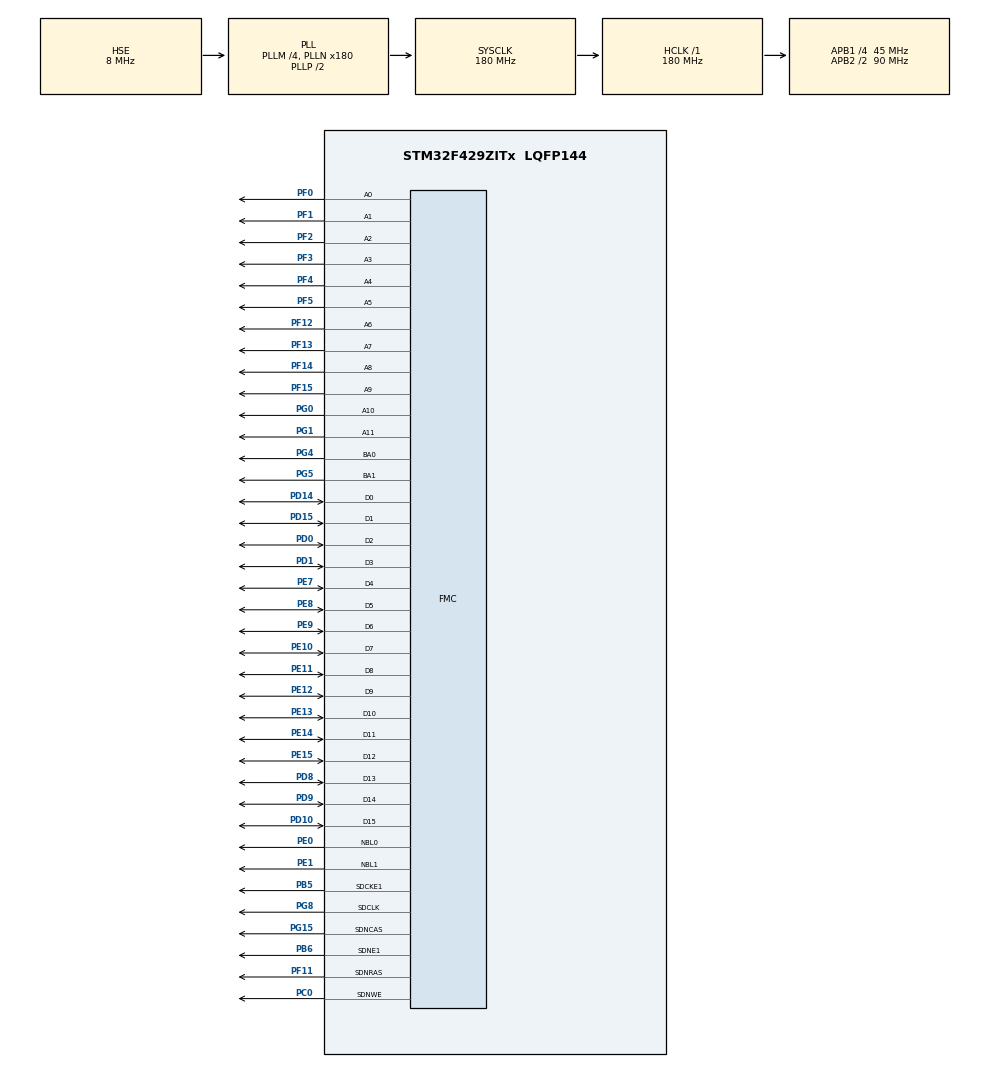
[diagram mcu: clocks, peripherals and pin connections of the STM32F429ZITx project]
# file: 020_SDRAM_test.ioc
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FMC.CASLatency1=FMC_SDRAM_CAS_LATENCY_2
FMC.ExitSelfRefreshDelay1=6
FMC.LoadToActiveDelay1=2
FMC.RCDDelay1=2
FMC.RPDelay1=2
FMC.RPDelay2=2
FMC.ReadBurst1=FMC_SDRAM_RBURST_ENABLE
FMC.ReadBurst2=FMC_SDRAM_RBURST_ENABLE
FMC.RowCycleDelay1=6
FMC.RowCycleDelay2=6
FMC.SDClockPeriod1=FMC_SDRAM_CLOCK_PERIOD_2
FMC.SDClockPeriod2=FMC_SDRAM_CLOCK_PERIOD_2
FMC.SelfRefreshTime1=4
FMC.WriteRecoveryTime1=2
Mcu.Family=STM32F4
Mcu.Name=STM32F429ZITx
Mcu.Package=LQFP144
NVIC.PriorityGroup=NVIC_PRIORITYGROUP_4
PA13.Mode=Trace_Asynchronous_SW
PA13.Signal=SYS_JTMS-SWDIO
PA14.Mode=Trace_Asynchronous_SW
PA14.Signal=SYS_JTCK-SWCLK
PB3.Mode=Trace_Asynchronous_SW
PB3.Signal=SYS_JTDO-SWO
PB5.Mode=SdramChipSelect2_1
PB5.Signal=FMC_SDCKE1
PB6.Mode=SdramChipSelect2_1
PB6.Signal=FMC_SDNE1
PC0.Signal=FMC_SDNWE
PD0.Signal=FMC_D2_DA2
PD1.Signal=FMC_D3_DA3
PD10.Signal=FMC_D15_DA15
PD14.Signal=FMC_D0_DA0
PD15.Signal=FMC_D1_DA1
PD8.Signal=FMC_D13_DA13
PD9.Signal=FMC_D14_DA14
PE0.Signal=FMC_NBL0
PE1.Signal=FMC_NBL1
PE10.Signal=FMC_D7_DA7
PE11.Signal=FMC_D8_DA8
PE12.Signal=FMC_D9_DA9
PE13.Signal=FMC_D10_DA10
PE14.Signal=FMC_D11_DA11
PE15.Signal=FMC_D12_DA12
PE7.Signal=FMC_D4_DA4
PE8.Signal=FMC_D5_DA5
PE9.Signal=FMC_D6_DA6
PF0.Signal=FMC_A0
PF1.Signal=FMC_A1
PF11.Signal=FMC_SDNRAS
PF12.Signal=FMC_A6
PF13.Signal=FMC_A7
PF14.Signal=FMC_A8
PF15.Signal=FMC_A9
PF2.Signal=FMC_A2
PF3.Signal=FMC_A3
PF4.Signal=FMC_A4
PF5.Signal=FMC_A5
PG0.Signal=FMC_A10
PG1.Signal=FMC_A11
PG15.Signal=FMC_SDNCAS
PG4.Signal=FMC_A14_BA0
PG5.Signal=FMC_A15_BA1
PG8.Signal=FMC_SDCLK
PH0/OSC_IN.Mode=HSE-External-Oscillator
PH0/OSC_IN.Signal=RCC_OSC_IN
PH1/OSC_OUT.Mode=HSE-External-Oscillator
PH1/OSC_OUT.Signal=RCC_OSC_OUT
ProjectManager.HeapSize=0x200
ProjectManager.StackSize=0x400
ProjectManager.TargetToolchain=STM32CubeIDE
RCC.48MHZClocksFreq_Value=90000000
RCC.AHBFreq_Value=180000000
RCC.APB1CLKDivider=RCC_HCLK_DIV4
RCC.APB1Freq_Value=45000000
RCC.APB1TimFreq_Value=90000000
RCC.APB2CLKDivider=RCC_HCLK_DIV2
RCC.APB2Freq_Value=90000000
RCC.APB2TimFreq_Value=180000000
RCC.CortexFreq_Value=180000000
RCC.HCLKFreq_Value=180000000
RCC.HSE_VALUE=8000000
RCC.HSI_VALUE=16000000
RCC.LSE_VALUE=32768
RCC.PLLM=4
RCC.PLLN=180
RCC.PLLSourceVirtual=RCC_PLLSOURCE_HSE
RCC.PWREXT_OverDrive=PWREXT_OverDrive_ACTIVATED
RCC.PWR_Regulator_Voltage_Scale=PWR_REGULATOR_VOLTAGE_SCALE1
RCC.SYSCLKFreq_VALUE=180000000
RCC.SYSCLKSource=RCC_SYSCLKSOURCE_PLLCLK
RCC.VCOOutputFreq_Value=360000000
SH.FMC_A0.0=FMC_A0,12b-sda1
SH.FMC_A1.0=FMC_A1,12b-sda1
SH.FMC_A10.0=FMC_A10,12b-sda1
SH.FMC_A11.0=FMC_A11,12b-sda1
SH.FMC_A14_BA0.0=FMC_BA0,FourSdramBanks1
SH.FMC_A15_BA1.0=FMC_BA1,FourSdramBanks1
SH.FMC_A2.0=FMC_A2,12b-sda1
SH.FMC_A3.0=FMC_A3,12b-sda1
SH.FMC_A4.0=FMC_A4,12b-sda1
SH.FMC_A5.0=FMC_A5,12b-sda1
SH.FMC_A6.0=FMC_A6,12b-sda1
SH.FMC_A7.0=FMC_A7,12b-sda1
SH.FMC_A8.0=FMC_A8,12b-sda1
SH.FMC_A9.0=FMC_A9,12b-sda1
SH.FMC_D0_DA0.0=FMC_D0,sd-16b-d1
SH.FMC_D10_DA10.0=FMC_D10,sd-16b-d1
SH.FMC_D11_DA11.0=FMC_D11,sd-16b-d1
SH.FMC_D12_DA12.0=FMC_D12,sd-16b-d1
SH.FMC_D13_DA13.0=FMC_D13,sd-16b-d1
SH.FMC_D14_DA14.0=FMC_D14,sd-16b-d1
SH.FMC_D15_DA15.0=FMC_D15,sd-16b-d1
SH.FMC_D1_DA1.0=FMC_D1,sd-16b-d1
SH.FMC_D2_DA2.0=FMC_D2,sd-16b-d1
SH.FMC_D3_DA3.0=FMC_D3,sd-16b-d1
SH.FMC_D4_DA4.0=FMC_D4,sd-16b-d1
SH.FMC_D5_DA5.0=FMC_D5,sd-16b-d1
SH.FMC_D6_DA6.0=FMC_D6,sd-16b-d1
SH.FMC_D7_DA7.0=FMC_D7,sd-16b-d1
SH.FMC_D8_DA8.0=FMC_D8,sd-16b-d1
SH.FMC_D9_DA9.0=FMC_D9,sd-16b-d1
SH.FMC_NBL0.0=FMC_NBL0,Sd2ByteEnable1
SH.FMC_NBL1.0=FMC_NBL1,Sd2ByteEnable1
SH.FMC_SDCLK.0=FMC_SDCLK,12b-sda1
SH.FMC_SDNCAS.0=FMC_SDNCAS,12b-sda1
SH.FMC_SDNRAS.0=FMC_SDNRAS,12b-sda1
SH.FMC_SDNWE.0=FMC_SDNWE,12b-sda1
board=custom

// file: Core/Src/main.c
/* USER CODE BEGIN Header */
/**
 ******************************************************************************
 * @file           : main.c
 * @brief          : Main program body
 ******************************************************************************
 * @attention
 *
 * Copyright (c) 2023 STMicroelectronics.
 * All rights reserved.
 *
 * This software is licensed under terms that can be found in the LICENSE file
 * in the root directory of this software component.
 * If no LICENSE file comes with this software, it is provided AS-IS.
 *
 ******************************************************************************
 */
/* USER CODE END Header */
#include "main.h"

/* USER CODE BEGIN Includes */
#include "stdlib.h"
/* USER CODE END Includes */

SDRAM_HandleTypeDef hsdram1;

void SystemClock_Config(void);
static void MX_GPIO_Init(void);
static void MX_FMC_Init(void);

int main(void) {

	/* MCU Configuration--------------------------------------------------------*/

	/* Reset of all peripherals, Initializes the Flash interface and the Systick. */
	HAL_Init();

	/* Configure the system clock */
	SystemClock_Config();

	/* Initialize all configured peripherals */
	MX_GPIO_Init();
	MX_FMC_Init();

	/* Infinite loop */
	/* USER CODE BEGIN WHILE */

	// adres start 0xd0000000 - adres stop 0xd07fffff - 64Mb, 8MB, 4M half Word, 2M Word
#define SDRAM_BANK_ADDR_START ((uint32_t)0xd0000000)
#define SDRAM_BANK_COUNT		(0x8000)

	volatile uint32_t test_ok = 0; //zmienna w której będzie wynik testu
	uint32_t test_err[0x100] = { 0 };

	// uzupełnienie randomem małego bloku na stosie

	uint8_t tab[0x100];
	srand(HAL_GetTick());
	for (int i = 0; i < 0x100; i++) {
		tab[i] = rand() % 0x100;
	}

	for (int j = 0; j < SDRAM_BANK_COUNT; j++)
		for (int i = 0; i < 0x100; i++) {
			*(__IO uint8_t*) (SDRAM_BANK_ADDR_START + (j * 0x100) + (1 * i)) = tab[i];
		}

	for (int j = 0; j < SDRAM_BANK_COUNT; j++)
		for (int i = 0; i < 0x100; i++) {
			if ((*(__IO uint8_t*) (SDRAM_BANK_ADDR_START + (j * 0x100) + (1 * i))) != tab[i]) {
				test_err[test_ok] = (SDRAM_BANK_ADDR_START + (j * 0x100) + (1 * i));
				test_ok++;
			}
		}

	__NOP();

	while (1) {
		/* USER CODE END WHILE */

	}
}

void SystemClock_Config(void) {
	RCC_OscInitTypeDef RCC_OscInitStruct = { 0 };
	RCC_ClkInitTypeDef RCC_ClkInitStruct = { 0 };

	/** Configure the main internal regulator output voltage
	 */
	__HAL_RCC_PWR_CLK_ENABLE();
	__HAL_PWR_VOLTAGESCALING_CONFIG(PWR_REGULATOR_VOLTAGE_SCALE1);

	/** Initializes the RCC Oscillators according to the specified parameters
	 * in the RCC_OscInitTypeDef structure.
	 */
	RCC_OscInitStruct.OscillatorType = RCC_OSCILLATORTYPE_HSE;
	RCC_OscInitStruct.HSEState = RCC_HSE_ON;
	RCC_OscInitStruct.PLL.PLLState = RCC_PLL_ON;
	RCC_OscInitStruct.PLL.PLLSource = RCC_PLLSOURCE_HSE;
	RCC_OscInitStruct.PLL.PLLM = 4;
	RCC_OscInitStruct.PLL.PLLN = 180;
	RCC_OscInitStruct.PLL.PLLP = RCC_PLLP_DIV2;
	RCC_OscInitStruct.PLL.PLLQ = 4;
	if (HAL_RCC_OscConfig(&RCC_OscInitStruct) != HAL_OK) {
		Error_Handler();
	}

	/** Activate the Over-Drive mode
	 */
	if (HAL_PWREx_EnableOverDrive() != HAL_OK) {
		Error_Handler();
	}

	/** Initializes the CPU, AHB and APB buses clocks
	 */
	RCC_ClkInitStruct.ClockType = RCC_CLOCKTYPE_HCLK | RCC_CLOCKTYPE_SYSCLK | RCC_CLOCKTYPE_PCLK1 | RCC_CLOCKTYPE_PCLK2;
	RCC_ClkInitStruct.SYSCLKSource = RCC_SYSCLKSOURCE_PLLCLK;
	RCC_ClkInitStruct.AHBCLKDivider = RCC_SYSCLK_DIV1;
	RCC_ClkInitStruct.APB1CLKDivider = RCC_HCLK_DIV4;
	RCC_ClkInitStruct.APB2CLKDivider = RCC_HCLK_DIV2;

	if (HAL_RCC_ClockConfig(&RCC_ClkInitStruct, FLASH_LATENCY_5) != HAL_OK) {
		Error_Handler();
	}
}

/* FMC initialization function */
static void MX_FMC_Init(void) {

	FMC_SDRAM_TimingTypeDef SdramTiming = { 0 };

	/** Perform the SDRAM1 memory initialization sequence
	 */
	hsdram1.Instance = FMC_SDRAM_DEVICE;
	/* hsdram1.Init */
	hsdram1.Init.SDBank = FMC_SDRAM_BANK2;
	hsdram1.Init.ColumnBitsNumber = FMC_SDRAM_COLUMN_BITS_NUM_8;
	hsdram1.Init.RowBitsNumber = FMC_SDRAM_ROW_BITS_NUM_12;
	hsdram1.Init.MemoryDataWidth = FMC_SDRAM_MEM_BUS_WIDTH_16;
	hsdram1.Init.InternalBankNumber = FMC_SDRAM_INTERN_BANKS_NUM_4;
	hsdram1.Init.CASLatency = FMC_SDRAM_CAS_LATENCY_2;
	hsdram1.Init.WriteProtection = FMC_SDRAM_WRITE_PROTECTION_DISABLE;
	hsdram1.Init.SDClockPeriod = FMC_SDRAM_CLOCK_PERIOD_2;
	hsdram1.Init.ReadBurst = FMC_SDRAM_RBURST_ENABLE;
	hsdram1.Init.ReadPipeDelay = FMC_SDRAM_RPIPE_DELAY_0;
	/* SdramTiming */
	SdramTiming.LoadToActiveDelay = 2;
	SdramTiming.ExitSelfRefreshDelay = 6;
	SdramTiming.SelfRefreshTime = 4;
	SdramTiming.RowCycleDelay = 6;
	SdramTiming.WriteRecoveryTime = 2;
	SdramTiming.RPDelay = 2;
	SdramTiming.RCDDelay = 2;

	if (HAL_SDRAM_Init(&hsdram1, &SdramTiming) != HAL_OK) {
		Error_Handler();
	}

	/* USER CODE BEGIN FMC_Init 2 */
#define SDRAM_MODEREG_BURST_LENGTH_1            	((uint16_t)0x0000)
#define SDRAM_MODEREG_BURST_LENGTH_2            	((uint16_t)0x0001)
#define SDRAM_MODEREG_BURST_LENGTH_4            	((uint16_t)0x0002)
#define SDRAM_MODEREG_BURST_LENGTH_8            	((uint16_t)0x0004)
#define SDRAM_MODEREG_BURST_TYPE_SEQUENTIAL     	((uint16_t)0x0000)
#define SDRAM_MODEREG_BURST_TYPE_INTERLEAVED    	((uint16_t)0x0008)
#define SDRAM_MODEREG_CAS_LATENCY_2             	((uint16_t)0x0020)
#define SDRAM_MODEREG_CAS_LATENCY_3             	((uint16_t)0x0030)
#define SDRAM_MODEREG_OPERATING_MODE_STANDARD   	((uint16_t)0x0000)
#define SDRAM_MODEREG_WRITEBURST_MODE_PROGRAMMED	((uint16_t)0x0000)
#define SDRAM_MODEREG_WRITEBURST_MODE_SINGLE    	((uint16_t)0x0200)
	// SDRAM Initialization Sequence
	FMC_SDRAM_CommandTypeDef cmd;
	cmd.CommandMode = FMC_SDRAM_CMD_CLK_ENABLE;
	cmd.CommandTarget = FMC_SDRAM_CMD_TARGET_BANK2;
	cmd.AutoRefreshNumber = 1;
	cmd.ModeRegisterDefinition = 0;
	HAL_SDRAM_SendCommand(&hsdram1, &cmd, 0xFFFF);
	HAL_Delay(1);
	cmd.CommandMode = FMC_SDRAM_CMD_PALL;
	cmd.CommandTarget = FMC_SDRAM_CMD_TARGET_BANK2;
	cmd.AutoRefreshNumber = 1;
	cmd.ModeRegisterDefinition = 0;
	HAL_SDRAM_SendCommand(&hsdram1, &cmd, 0xFFFF);
	cmd.CommandMode = FMC_SDRAM_CMD_AUTOREFRESH_MODE;
	cmd.CommandTarget = FMC_SDRAM_CMD_TARGET_BANK2;
	cmd.AutoRefreshNumber = 8;
	cmd.ModeRegisterDefinition = 0;
	HAL_SDRAM_SendCommand(&hsdram1, &cmd, 0xFFFF);
	cmd.CommandMode = FMC_SDRAM_CMD_LOAD_MODE;
	cmd.CommandTarget = FMC_SDRAM_CMD_TARGET_BANK2;
	cmd.AutoRefreshNumber = 1;
	cmd.ModeRegisterDefinition =
	SDRAM_MODEREG_BURST_LENGTH_1 |
	SDRAM_MODEREG_BURST_TYPE_SEQUENTIAL |
	SDRAM_MODEREG_CAS_LATENCY_2 |
	SDRAM_MODEREG_OPERATING_MODE_STANDARD |
	SDRAM_MODEREG_WRITEBURST_MODE_SINGLE;
	HAL_SDRAM_SendCommand(&hsdram1, &cmd, 0xFFFF);
	HAL_SDRAM_ProgramRefreshRate(&hsdram1, 1386);
	/* USER CODE END FMC_Init 2 */
}

static void MX_GPIO_Init(void) {

	/* GPIO Ports Clock Enable */
	__HAL_RCC_GPIOF_CLK_ENABLE();
	__HAL_RCC_GPIOH_CLK_ENABLE();
	__HAL_RCC_GPIOC_CLK_ENABLE();
	__HAL_RCC_GPIOG_CLK_ENABLE();
	__HAL_RCC_GPIOE_CLK_ENABLE();
	__HAL_RCC_GPIOD_CLK_ENABLE();
	__HAL_RCC_GPIOA_CLK_ENABLE();
	__HAL_RCC_GPIOB_CLK_ENABLE();

}

void Error_Handler(void) {
	__disable_irq();
	while (1) {
	}
}
